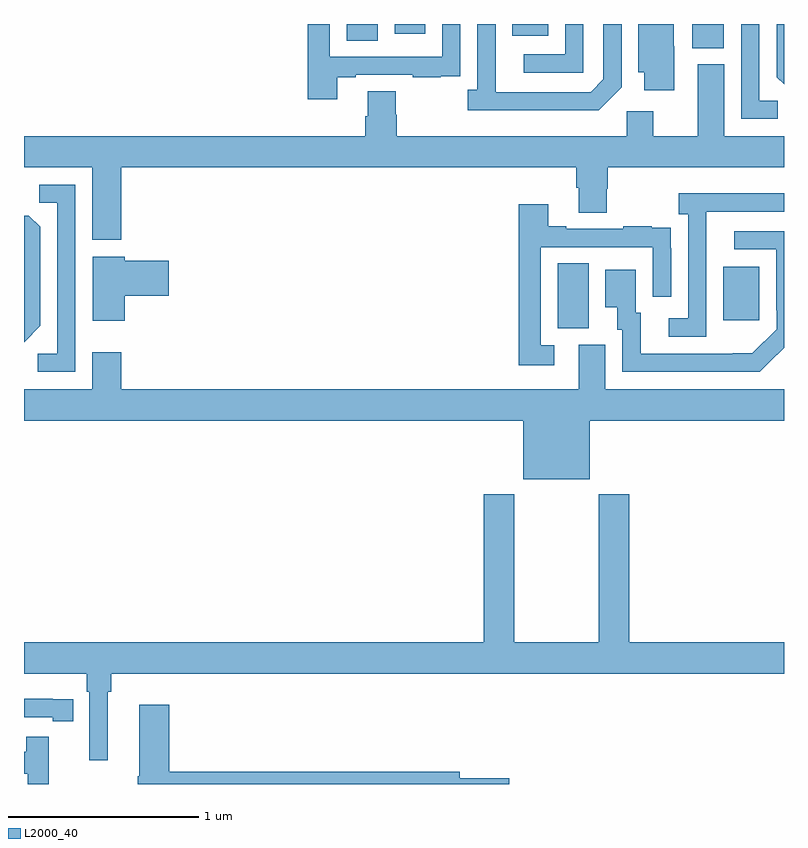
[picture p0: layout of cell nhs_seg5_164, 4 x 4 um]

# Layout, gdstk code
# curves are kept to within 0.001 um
import gdstk
lib = gdstk.Library(unit=1e-6, precision=1e-09)
def R(c, l, rs):  # rectangles x0, y0, x1, y1
    for r in rs: c.add(gdstk.rectangle(r[:2], r[2:], *l))
def P(c, l, *ps):  # polygons
    for p in ps: c.add(gdstk.Polygon(p, *l))
L2000_40 = (2000, 40)

nhs_seg5_164 = lib.new_cell('nhs_seg5_164')
R(nhs_seg5_164, L2000_40, [(121.808,905.197,121.972,905.54), (122.681,905.241,122.869,905.521), (122.516,906.671,122.683,906.799), (120.698,906.712,120.862,906.799), (121.571,906.737,121.759,906.799), (120.95,906.747,121.111,906.799)])
P(nhs_seg5_164, L2000_40, [(122.145,906.465),(122.145,906.799),(122.049,906.799),(122.049,906.507),(121.983,906.441),(121.483,906.441),(121.482,906.799),(121.386,906.799),(121.386,906.454),(121.335,906.454),(121.335,906.344),(122.024,906.344)],
  [(122.422,906.681),(122.421,906.681),(122.421,906.799),(122.234,906.799),(122.234,906.545),(122.264,906.545),(122.264,906.45),(122.422,906.45)],
  [(123,906.799),(122.961,906.799),(122.961,906.52),(123,906.481)],
  [(121.944,906.799),(121.848,906.799),(121.848,906.639),(121.629,906.639),(121.629,906.543),(121.944,906.543)],
  [(122.967,906.395),(122.871,906.395),(122.871,906.799),(122.775,906.799),(122.775,906.3),(122.967,906.3)],
  [(120.649,906.519),(120.745,906.519),(120.745,906.531),(121.045,906.531),(121.045,906.519),(121.193,906.519),(121.193,906.525),(121.295,906.525),(121.295,906.634),(121.296,906.634),(121.296,906.799),(121.2,906.799),(121.2,906.627),(120.609,906.627),(120.609,906.799),(120.493,906.799),(120.493,906.402),(120.649,906.402)],
  [(120.962,906.321),(120.957,906.321),(120.957,906.446),(120.809,906.446),(120.809,906.314),(120.797,906.314),(120.797,906.208),(119,906.208),(119,906.044),(119.36,906.044),(119.36,905.664),(119.513,905.664),(119.513,906.044),(121.907,906.044),(121.907,905.938),(121.919,905.938),(121.919,905.806),(122.067,905.806),(122.067,905.931),(122.072,905.931),(122.072,906.044),(123,906.044),(123,906.208),(122.686,906.208),(122.686,906.586),(122.546,906.586),(122.546,906.208),(122.311,906.208),(122.311,906.34),(122.172,906.34),(122.172,906.208),(120.962,906.208)],
  [(119.271,905.952),(119.08,905.952),(119.08,905.857),(119.175,905.857),(119.175,905.064),(119.073,905.064),(119.073,904.968),(119.271,904.968)],
  [(122.592,905.811),(123,905.811),(123,905.908),(122.445,905.908),(122.445,905.798),(122.496,905.798),(122.496,905.25),(122.394,905.25),(122.394,905.154),(122.592,905.154)],
  [(121.792,905.109),(121.719,905.109),(121.719,905.625),(122.31,905.625),(122.31,905.364),(122.406,905.364),(122.406,905.618),(122.405,905.618),(122.405,905.727),(122.303,905.727),(122.303,905.734),(122.155,905.734),(122.155,905.721),(121.855,905.721),(121.855,905.734),(121.759,905.734),(121.759,905.851),(121.603,905.851),(121.603,905.004),(121.792,905.004)],
  [(119.085,905.21),(119.085,905.732),(119.026,905.791),(119,905.791),(119,905.125)],
  [(122.963,905.059),(122.964,905.058),(123,905.094),(123,905.709),(122.739,905.709),(122.739,905.613),(122.958,905.613),(122.958,905.293),(122.961,905.293),(122.961,905.193),(122.833,905.065),(122.245,905.064),(122.245,905.28),(122.221,905.28),(122.221,905.506),(122.06,905.506),(122.06,905.309),(122.123,905.309),(122.123,905.19),(122.148,905.19),(122.148,904.968),(122.872,904.968)],
  [(119.53,905.369),(119.761,905.369),(119.761,905.552),(119.53,905.552),(119.53,905.575),(119.363,905.575),(119.363,905.238),(119.53,905.238)],
  [(121.978,904.712),(123,904.712),(123,904.876),(122.059,904.876),(122.059,905.112),(121.919,905.112),(121.919,904.876),(119.513,904.876),(119.513,905.071),(119.36,905.071),(119.36,904.876),(119,904.876),(119,904.712),(121.628,904.712),(121.628,904.403),(121.978,904.403)],
  [(119.44,903.284),(119.459,903.284),(119.459,903.38),(123,903.38),(123,903.544),(122.186,903.544),(122.186,904.324),(122.026,904.324),(122.026,903.544),(121.581,903.544),(121.581,904.324),(121.421,904.324),(121.421,903.544),(119,903.544),(119,903.38),(119.33,903.38),(119.33,903.284),(119.343,903.284),(119.343,902.925),(119.44,902.925)],
  [(119.258,903.246),(119.15,903.246),(119.15,903.247),(119,903.247),(119,903.15),(119.15,903.15),(119.15,903.13),(119.258,903.13)],
  [(121.555,902.828),(121.294,902.828),(121.294,902.864),(119.765,902.864),(119.765,903.217),(119.606,903.217),(119.606,902.841),(119.599,902.841),(119.599,902.799),(121.555,902.799)],
  [(119.129,903.049),(119.011,903.049),(119.011,902.97),(119,902.97),(119,902.854),(119.019,902.854),(119.019,902.799),(119.129,902.799)])

lib.write_gds('nhs_seg5_164.gds')
